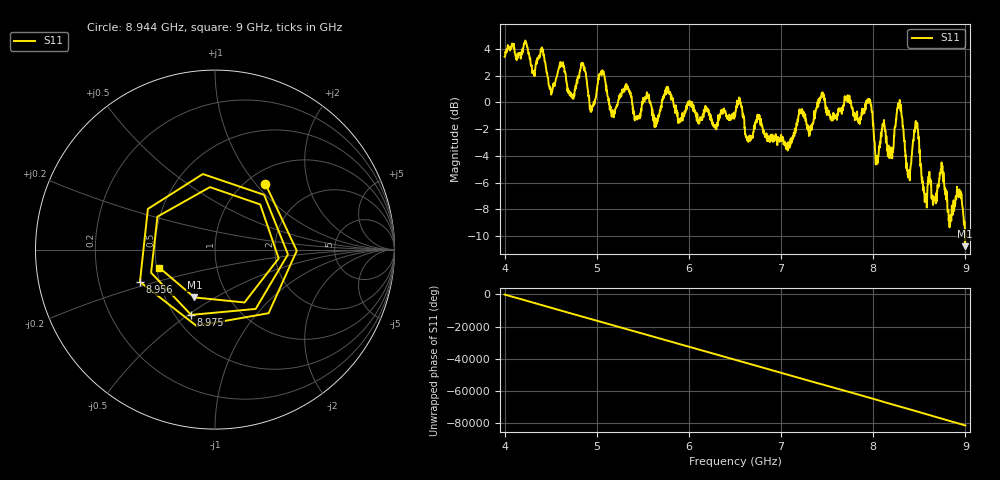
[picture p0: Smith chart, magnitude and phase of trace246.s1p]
! Created with skrf 1.8.0 (http://scikit-rf.org).
# Hz S RI R 50.0
!freq ReS11 ImS11
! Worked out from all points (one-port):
!   1601 points, 4 GHz to 9 GHz, reference 50 ohm
!   lowest |S11| = -10.8 dB at 8.997 GHz (marker M1), VSWR 1.82, Z = 34.9 - j20.3 ohm
!   |S11| at or under -10 dB: 8.995283 GHz to 8.999203 GHz (3.92 MHz wide, 0.0436 % of centre)
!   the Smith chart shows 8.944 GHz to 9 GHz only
!   S11 on the Smith chart (normalised r, x): 8.944 GHz: 1.21, +1.12; 8.956 GHz: 0.39, -0.18; 8.975 GHz: 0.60, -0.51; 9 GHz: 0.52, -0.12
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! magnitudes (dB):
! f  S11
! 4 GHz  3.4
! 4.406 GHz  4.1
! 4.503 GHz  0.7
! 4.625 GHz  2.7
! 4.731 GHz  0.5
! 4.856 GHz  2.8
! 4.947 GHz  -0.6
! 5.053 GHz  2.0
! 5.162 GHz  -1.1
! 5.25 GHz  0.3
! 5.875 GHz  -0.8
! 6.5 GHz  -1.0
! 7.125 GHz  -2.8
! 7.441 GHz  0.7
! 7.75 GHz  0.2
! 7.956 GHz  0.0
! 8.044 GHz  -4.6
! 8.109 GHz  -1.6
! 8.197 GHz  -4.2
! 8.284 GHz  0.0
! 8.375 GHz  -5.5
! 8.469 GHz  -1.7
! 8.559 GHz  -7.4
! 8.944 GHz  -6.7
! 8.956 GHz  -6.8
! 8.975 GHz  -8.2
! 8.997 GHz  -10.8
! 9 GHz  -9.7
